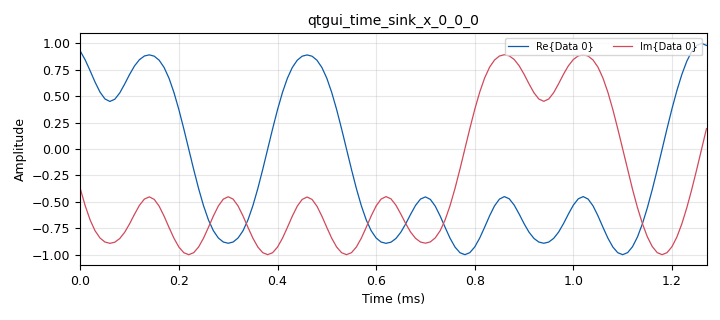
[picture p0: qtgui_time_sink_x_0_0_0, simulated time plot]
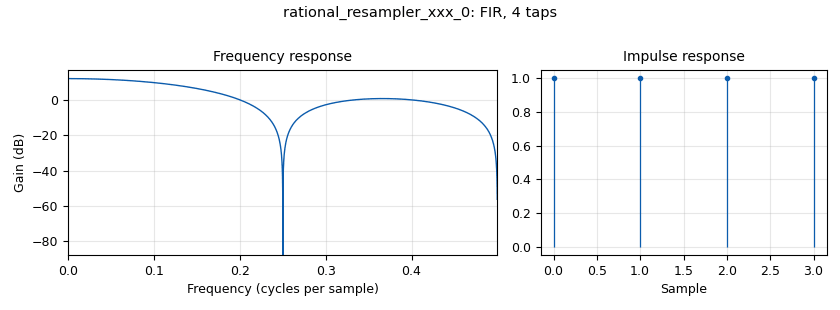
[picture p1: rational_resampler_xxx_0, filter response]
options:
  parameters:
    author: user
    generate_options: qt_gui
    id: chanmod
    output_language: python
    title: Not titled yet
  states: {}

blocks:
- name: interp_rate
  id: variable
  parameters:
    value: '4'
  states: {}
- name: samp_rate
  id: variable
  parameters:
    value: '100000'
  states: {}
- name: sp
  id: variable_qtgui_range
  parameters:
    start: '0'
    step: '1'
    stop: '1000000'
    value: '400000'
  states: {}
- name: tap1
  id: variable_qtgui_range
  parameters:
    start: '0'
    step: '0.001'
    stop: '1'
    value: '1'
  states: {}
- name: variable_qtgui_label_0
  id: variable_qtgui_label
  parameters:
    label: tap1
    type: int
    value: tap1
  states: {}
- name: analog_random_source_x_0
  id: analog_random_source_x
  parameters:
    max: '255'
    min: '0'
    num_samps: '4096'
    repeat: 'True'
    type: byte
  states: {}
- name: analog_sig_source_x_0
  id: analog_sig_source_x
  parameters:
    amp: '500'
    freq: '6250'
    offset: '0'
    phase: '0'
    samp_rate: samp_rate
    type: complex
    waveform: analog.GR_SIN_WAVE
  states: {state: disabled}
- name: blocks_file_sink_0_0
  id: blocks_file_sink
  parameters:
    file: /home/user/Masaüstü/test2.cfile
    type: complex
  states: {state: disabled}
- name: blocks_file_sink_0_0_0
  id: blocks_file_sink
  parameters:
    file: /home/user/Masaüstü/test.cfile
    type: complex
  states: {state: disabled}
- name: blocks_file_sink_0_1_0
  id: blocks_file_sink
  parameters:
    file: /home/user/Masaüstü/test.cfile
    type: complex
  states: {state: disabled}
- name: blocks_stream_to_vector_0
  id: blocks_stream_to_vector
  parameters:
    num_items: '1024'
    type: complex
  states: {state: disabled}
- name: blocks_throttle2_0
  id: blocks_throttle2
  parameters:
    samples_per_second: samp_rate
    type: complex
  states: {}
- name: blocks_vector_to_stream_0
  id: blocks_vector_to_stream
  parameters:
    num_items: '1024'
    type: complex
  states: {state: disabled}
- name: channel_simulator_channelModel_0
  id: channel_simulator_channelModel
  parameters:
    decimation: '4'
    taps: '[1.0]'
  states: {}
- name: digital_gmsk_mod_0
  id: digital_gmsk_mod
  parameters:
    bt: '0.35'
    samples_per_symbol: '8'
  states: {}
- name: fft_vxx_0
  id: fft_vxx
  parameters:
    fft_size: '1024'
    forward: 'True'
    shift: 'False'
    type: complex
    window: window.blackmanharris(1024)
  states: {state: disabled}
- name: fft_vxx_0_0
  id: fft_vxx
  parameters:
    fft_size: '1024'
    forward: 'False'
    shift: 'False'
    type: complex
    window: window.blackmanharris(1024)
  states: {state: disabled}
- name: fir_filter_xxx_0
  id: fir_filter_xxx
  parameters:
    decim: interp_rate
    taps: '[1, 0, 0, 0]'
    type: ccc
  states: {state: disabled}
- name: fir_filter_xxx_1
  id: fir_filter_xxx
  parameters:
    decim: '4'
    taps: '[0, 0.5, 1.5, 0, 0]'
    type: ccc
  states: {state: disabled}
- name: qtgui_time_sink_x_0_0_0
  id: qtgui_time_sink_x
  parameters:
    autoscale: 'True'
    ctrlpanel: 'True'
    grid: 'True'
    size: '128'
    srate: samp_rate
    type: complex
  states: {}
- name: qtgui_time_sink_x_0_1_0_1_0_0_0
  id: qtgui_time_sink_x
  parameters:
    autoscale: 'True'
    ctrlpanel: 'True'
    grid: 'True'
    label1: after decim
    name: '"after desim"'
    size: '128'
    srate: samp_rate
    type: complex
  states: {}
- name: qtgui_time_sink_x_0_1_0_1_0_0_0_0
  id: qtgui_time_sink_x
  parameters:
    autoscale: 'True'
    ctrlpanel: 'True'
    grid: 'True'
    label1: after decim
    name: '"after desim"'
    size: '128'
    srate: samp_rate
    type: complex
  states: {state: disabled}
- name: rational_resampler_xxx_0
  id: rational_resampler_xxx
  parameters:
    decim: '1'
    interp: interp_rate
    taps: '[1, 1, 1, 1]'
    type: ccc
  states: {}
- name: rational_resampler_xxx_0_0
  id: rational_resampler_xxx
  parameters:
    decim: interp_rate
    interp: '1'
    taps: '[1, 1, 1, 1]'
    type: ccc
  states: {state: disabled}

connections:
- [analog_random_source_x_0, '0', digital_gmsk_mod_0, '0']
- [analog_sig_source_x_0, '0', blocks_throttle2_0, '0']
- [blocks_stream_to_vector_0, '0', fft_vxx_0, '0']
- [blocks_throttle2_0, '0', blocks_file_sink_0_0, '0']
- [blocks_throttle2_0, '0', qtgui_time_sink_x_0_0_0, '0']
- [blocks_throttle2_0, '0', rational_resampler_xxx_0, '0']
- [blocks_vector_to_stream_0, '0', rational_resampler_xxx_0_0, '0']
- [channel_simulator_channelModel_0, '0', blocks_file_sink_0_0_0, '0']
- [channel_simulator_channelModel_0, '0', qtgui_time_sink_x_0_1_0_1_0_0_0, '0']
- [digital_gmsk_mod_0, '0', blocks_throttle2_0, '0']
- [fft_vxx_0, '0', fft_vxx_0_0, '0']
- [fft_vxx_0_0, '0', blocks_vector_to_stream_0, '0']
- [fir_filter_xxx_0, '0', qtgui_time_sink_x_0_1_0_1_0_0_0, '0']
- [fir_filter_xxx_1, '0', blocks_file_sink_0_1_0, '0']
- [rational_resampler_xxx_0, '0', blocks_stream_to_vector_0, '0']
- [rational_resampler_xxx_0, '0', channel_simulator_channelModel_0, '0']
- [rational_resampler_xxx_0, '0', fir_filter_xxx_0, '0']
- [rational_resampler_xxx_0, '0', fir_filter_xxx_1, '0']
- [rational_resampler_xxx_0_0, '0', qtgui_time_sink_x_0_1_0_1_0_0_0_0, '0']

metadata:
  file_format: 1
  grc_version: 3.10.7.0
